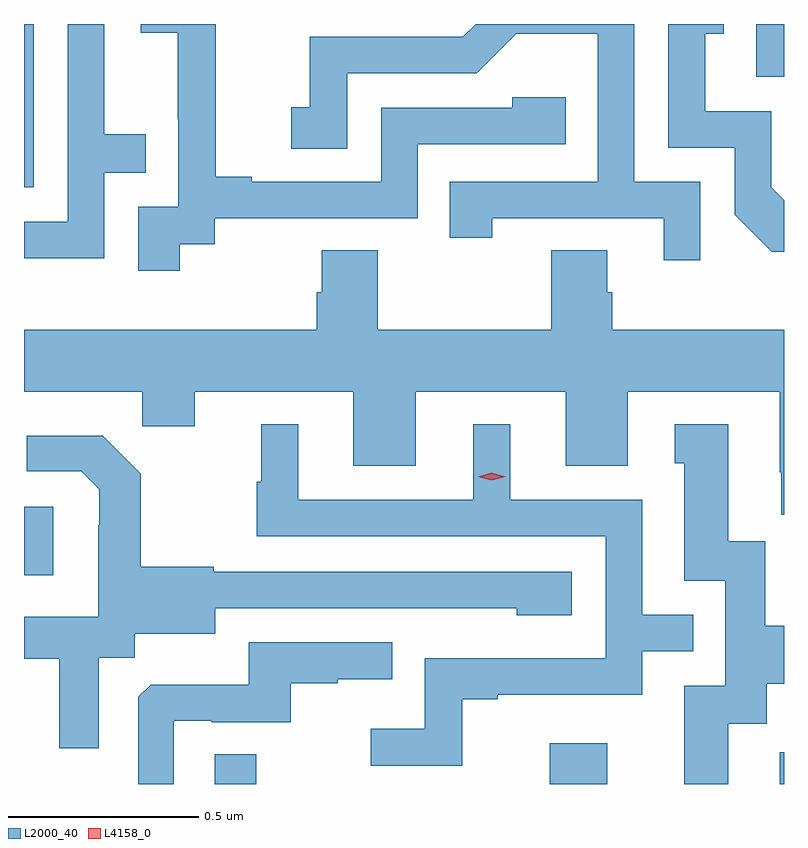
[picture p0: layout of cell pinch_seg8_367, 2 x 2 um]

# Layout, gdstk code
import gdstk
lib = gdstk.Library(unit=1e-6, precision=1e-09)
def R(c, l, rs):  # rectangles x0, y0, x1, y1
    for r in rs: c.add(gdstk.rectangle(r[:2], r[2:], *l))
def P(c, l, *ps):  # polygons
    for p in ps: c.add(gdstk.Polygon(p, *l))
L2000_40 = (2000, 40)
L4158_0 = (4158, 0)

pinch_seg8_367 = lib.new_cell('pinch_seg8_367')
R(pinch_seg8_367, L2000_40, [(432.576,1099.484,432.685,1099.562), (433.457,1099.484,433.609,1099.591), (434.063,1099.484,434.074,1099.567), (432.074,1100.034,432.151,1100.214), (432.074,1101.054,432.099,1101.484), (434.001,1101.345,434.074,1101.484)])
P(pinch_seg8_367, L2000_40, [(432.285,1101.093),(432.395,1101.093),(432.395,1101.194),(432.285,1101.194),(432.285,1101.484),(432.189,1101.484),(432.189,1100.964),(432.074,1100.964),(432.074,1100.868),(432.285,1100.868)],
  [(434.074,1101.02),(434.04,1101.054),(434.04,1101.255),(433.867,1101.255),(433.867,1101.459),(433.916,1101.459),(433.916,1101.484),(433.77,1101.484),(433.77,1101.159),(433.944,1101.159),(433.944,1100.982),(434.042,1100.885),(434.074,1100.885)],
  [(432.484,1100.905),(432.576,1100.905),(432.576,1100.973),(433.11,1100.973),(433.11,1101.168),(433.499,1101.168),(433.499,1101.291),(433.359,1101.291),(433.359,1101.264),(433.014,1101.264),(433.014,1101.069),(432.673,1101.069),(432.673,1101.082),(432.578,1101.082),(432.578,1101.365),(432.579,1101.365),(432.579,1101.484),(432.381,1101.484),(432.381,1101.461),(432.479,1101.461),(432.479,1101.233),(432.48,1101.233),(432.48,1101.003),(432.375,1101.003),(432.375,1100.835),(432.484,1100.835)],
  [(433.854,1101.069),(433.68,1101.069),(433.68,1101.484),(433.263,1101.484),(433.229,1101.45),(432.826,1101.45),(432.826,1101.265),(432.777,1101.265),(432.777,1101.156),(432.924,1101.156),(432.924,1101.354),(433.266,1101.354),(433.37,1101.458),(433.584,1101.458),(433.584,1101.069),(433.195,1101.069),(433.195,1100.922),(433.306,1100.922),(433.306,1100.973),(433.757,1100.973),(433.757,1100.862),(433.854,1100.862)],
  [(434.074,1100.68),(433.622,1100.68),(433.622,1100.778),(433.609,1100.778),(433.609,1100.888),(433.462,1100.888),(433.462,1100.68),(433.005,1100.68),(433.005,1100.888),(432.857,1100.888),(432.857,1100.778),(432.845,1100.778),(432.845,1100.68),(432.074,1100.68),(432.074,1100.516),(432.385,1100.516),(432.385,1100.426),(432.523,1100.426),(432.523,1100.516),(432.941,1100.516),(432.941,1100.322),(433.105,1100.322),(433.105,1100.516),(433.499,1100.516),(433.499,1100.322),(433.663,1100.322),(433.663,1100.516),(434.063,1100.516),(434.063,1100.305),(434.067,1100.305),(434.067,1100.193),(434.074,1100.193)],
  [(433.927,1099.642),(434.029,1099.642),(434.029,1099.748),(434.074,1099.748),(434.074,1099.9),(434.025,1099.9),(434.025,1100.123),(433.927,1100.123),(433.927,1100.431),(433.787,1100.431),(433.787,1100.328),(433.811,1100.328),(433.811,1100.019),(433.92,1100.019),(433.92,1099.743),(433.811,1099.743),(433.811,1099.484),(433.927,1099.484)],
  [(433.227,1099.707),(433.321,1099.707),(433.321,1099.719),(433.701,1099.719),(433.701,1099.833),(433.835,1099.833),(433.835,1099.929),(433.701,1099.929),(433.701,1100.232),(433.354,1100.232),(433.354,1100.431),(433.256,1100.431),(433.256,1100.232),(432.796,1100.232),(432.796,1100.431),(432.698,1100.431),(432.698,1100.28),(432.687,1100.28),(432.687,1100.136),(433.605,1100.136),(433.605,1099.815),(433.128,1099.815),(433.128,1099.63),(432.987,1099.63),(432.987,1099.532),(433.227,1099.532)],
  [(432.271,1099.816),(432.366,1099.816),(432.366,1099.88),(432.577,1099.88),(432.577,1099.947),(433.135,1099.947),(433.135,1099.946),(433.371,1099.946),(433.371,1099.928),(433.516,1099.928),(433.516,1100.043),(432.573,1100.043),(432.573,1100.056),(432.381,1100.056),(432.381,1100.301),(432.281,1100.401),(432.081,1100.401),(432.081,1100.307),(432.225,1100.307),(432.272,1100.26),(432.272,1100.165),(432.27,1100.165),(432.27,1099.924),(432.074,1099.924),(432.074,1099.814),(432.167,1099.814),(432.167,1099.578),(432.271,1099.578)],
  [(432.468,1099.65),(432.568,1099.65),(432.568,1099.647),(432.776,1099.647),(432.776,1099.749),(432.899,1099.749),(432.899,1099.76),(433.043,1099.76),(433.043,1099.857),(432.666,1099.857),(432.666,1099.745),(432.407,1099.745),(432.375,1099.713),(432.375,1099.484),(432.468,1099.484)])
P(pinch_seg8_367, L4158_0, [(433.305,1100.283),(433.269,1100.293),(433.269,1100.293),(433.269,1100.293),(433.305,1100.303),(433.341,1100.293),(433.341,1100.293),(433.341,1100.293)])

lib.write_gds('pinch_seg8_367.gds')
